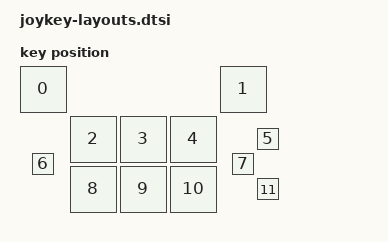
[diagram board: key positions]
// See https://zmk.dev/docs/development/hardware-integration/physical-layouts
// for how to configure this.

#include <physical_layouts.dtsi>

/ {
    default_layout: default_layout {
        compatible = "zmk,physical-layout";
        display-name = "Default Layout";
        transform = <&default_transform>;
        kscan = <&kscan>;

        // Edit this to define the positions and sizes of the keys, or remove it
        // if your keyboard will not support ZMK Studio.
        // https://zmk.dev/docs/development/hardware-integration/physical-layouts#optional-keys-property
        keys  //                     w   h    x    y     rot    rx    ry
            = <&key_physical_attrs 100 100    0    0       0     0     0>
            , <&key_physical_attrs 100 100  400    0       0     0     0>
            , <&key_physical_attrs 100 100  100  100       0     0     0>
            , <&key_physical_attrs 100 100  200  100       0     0     0>
            , <&key_physical_attrs 100 100  300  100       0     0     0>
            , <&key_physical_attrs  50  50  475  125       0     0     0>
            , <&key_physical_attrs  50  50   25  175       0     0     0>
            , <&key_physical_attrs  50  50  425  175       0     0     0>
            , <&key_physical_attrs 100 100  100  200       0     0     0>
            , <&key_physical_attrs 100 100  200  200       0     0     0>
            , <&key_physical_attrs 100 100  300  200       0     0     0>
            , <&key_physical_attrs  50  50  475  225       0     0     0>
            ;
    };

    /*
    chosen {
        zmk,battery = &vbatt;
    };

    // Node name must match original "EXT_POWER" label to preserve user settings.
    EXT_POWER {
        compatible = "zmk,ext-power-generic";
        control-gpios = <&gpio1 0 GPIO_ACTIVE_LOW>;//unpopulated mic pin.
        init-delay-ms = <50>;
    };

    vbatt: vbatt {
        compatible = "zmk,battery-voltage-divider";
        io-channels = <&adc 4>;//xiao D2
        output-ohms = <680000>;//lower leg 680K ohm
        full-ohms = <(680000 + 1000000)>;//lower leg + upper leg(1M ohm)
    };
    */
};
